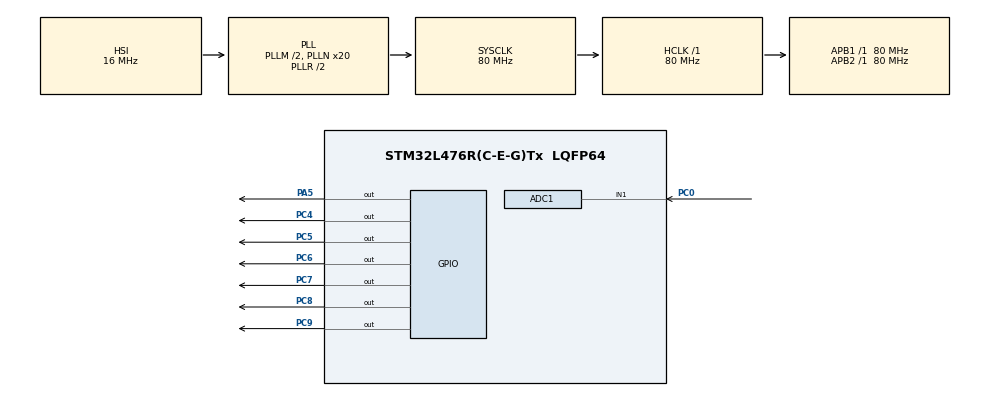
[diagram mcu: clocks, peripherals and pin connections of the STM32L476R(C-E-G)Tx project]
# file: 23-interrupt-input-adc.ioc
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ADC1.Channel-9\#ChannelRegularConversion=ADC_CHANNEL_1
ADC1.NbrOfConversionFlag=1
ADC1.OffsetNumber-9\#ChannelRegularConversion=ADC_OFFSET_NONE
ADC1.Overrun=ADC_OVR_DATA_OVERWRITTEN
ADC1.Rank-9\#ChannelRegularConversion=1
ADC1.SamplingTime-9\#ChannelRegularConversion=ADC_SAMPLETIME_2CYCLES_5
ADC1.master=1
Mcu.Family=STM32L4
Mcu.Name=STM32L476R(C-E-G)Tx
Mcu.Package=LQFP64
NVIC.ADC1_2_IRQn=true\:0\:0\:false\:false\:true\:true\:true\:true
NVIC.PriorityGroup=NVIC_PRIORITYGROUP_4
PA5.Signal=GPIO_Output
PC0.Signal=ADCx_IN1
PC4.Signal=GPIO_Output
PC5.Signal=GPIO_Output
PC6.Signal=GPIO_Output
PC7.Signal=GPIO_Output
PC8.Signal=GPIO_Output
PC9.Signal=GPIO_Output
ProjectManager.HeapSize=0x200
ProjectManager.StackSize=0x400
ProjectManager.TargetToolchain=STM32CubeIDE
RCC.ADCFreq_Value=32000000
RCC.AHBFreq_Value=80000000
RCC.APB1Freq_Value=80000000
RCC.APB1TimFreq_Value=80000000
RCC.APB2Freq_Value=80000000
RCC.APB2TimFreq_Value=80000000
RCC.CortexFreq_Value=80000000
RCC.HCLKFreq_Value=80000000
RCC.HSE_VALUE=8000000
RCC.HSI_VALUE=16000000
RCC.LSE_VALUE=32768
RCC.MSI_VALUE=4000000
RCC.PLLM=2
RCC.PLLN=20
RCC.PLLSourceVirtual=RCC_PLLSOURCE_HSI
RCC.PREFETCH_ENABLE=1
RCC.SYSCLKFreq_VALUE=80000000
RCC.SYSCLKSource=RCC_SYSCLKSOURCE_PLLCLK
RCC.USBFreq_Value=32000000
RCC.VCOOutputFreq_Value=160000000
SH.ADCx_IN1.0=ADC1_IN1,IN1-Single-Ended
board=NUCLEO-L476RG

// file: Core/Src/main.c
/* USER CODE BEGIN Header */
/**
  ******************************************************************************
  * @file           : main.c
  * @brief          : Main program body
  ******************************************************************************
  * @attention
  *
  * Copyright (c) 2025 STMicroelectronics.
  * All rights reserved.
  *
  * This software is licensed under terms that can be found in the LICENSE file
  * in the root directory of this software component.
  * If no LICENSE file comes with this software, it is provided AS-IS.
  *
  ******************************************************************************
  */
/* USER CODE END Header */
#include "main.h"

/* USER CODE BEGIN Includes */
#include "lcd.h"
#include "stdio.h"
/* USER CODE END Includes */

ADC_HandleTypeDef hadc1;

void SystemClock_Config(void);
static void MX_GPIO_Init(void);
static void MX_ADC1_Init(void);

/* USER CODE BEGIN 0 */
uint32_t ADCResult;
char buff[10];
float millivolts;
uint8_t DataFlag = 0;

void HAL_ADC_ConvCpltCallback(ADC_HandleTypeDef* hadc1) {
	ADCResult = HAL_ADC_GetValue(hadc1);    //get value
	millivolts = ((float)ADCResult) * 3300.0 / 4095.0;    //convert 12-bit value
    sprintf(buff, "%7.2f", millivolts);    //convert value format
    DataFlag = 1;    //flag
}
/* USER CODE END 0 */

int main(void)
{

  /* MCU Configuration--------------------------------------------------------*/

  /* Reset of all peripherals, Initializes the Flash interface and the Systick. */
  HAL_Init();

  /* Configure the system clock */
  SystemClock_Config();

  /* Initialize all configured peripherals */
  MX_GPIO_Init();
  MX_ADC1_Init();
  /* USER CODE BEGIN 2 */
  LCD_initial();    //LCD initialize
  LCD_GoTo_Position(0, 0);
  LCD_Puts("Voltmeter:");    //display values on LCD
  HAL_ADC_Start_IT(&hadc1);    //start interrupt
  /* USER CODE END 2 */

  /* Infinite loop */
  /* USER CODE BEGIN WHILE */
  while (1)
  {
    if(DataFlag == 1) {
      DataFlag = 0;    //data flag
      LCD_GoTo_Position(1, 0);    //move to LCD position
      LCD_Puts(buff);    //display values on LCD
      HAL_Delay(500);    //delay
      HAL_ADC_Start_IT(&hadc1);    //restart ADC
    }
    HAL_Delay(1);    //delay
    /* USER CODE END WHILE */

  }
}

void SystemClock_Config(void)
{
  RCC_OscInitTypeDef RCC_OscInitStruct = {0};
  RCC_ClkInitTypeDef RCC_ClkInitStruct = {0};

  /** Configure the main internal regulator output voltage
  */
  if (HAL_PWREx_ControlVoltageScaling(PWR_REGULATOR_VOLTAGE_SCALE1) != HAL_OK)
  {
    Error_Handler();
  }

  /** Initializes the RCC Oscillators according to the specified parameters
  * in the RCC_OscInitTypeDef structure.
  */
  RCC_OscInitStruct.OscillatorType = RCC_OSCILLATORTYPE_HSI;
  RCC_OscInitStruct.HSIState = RCC_HSI_ON;
  RCC_OscInitStruct.HSICalibrationValue = RCC_HSICALIBRATION_DEFAULT;
  RCC_OscInitStruct.PLL.PLLState = RCC_PLL_ON;
  RCC_OscInitStruct.PLL.PLLSource = RCC_PLLSOURCE_HSI;
  RCC_OscInitStruct.PLL.PLLM = 2;
  RCC_OscInitStruct.PLL.PLLN = 20;
  RCC_OscInitStruct.PLL.PLLP = RCC_PLLP_DIV7;
  RCC_OscInitStruct.PLL.PLLQ = RCC_PLLQ_DIV2;
  RCC_OscInitStruct.PLL.PLLR = RCC_PLLR_DIV2;
  if (HAL_RCC_OscConfig(&RCC_OscInitStruct) != HAL_OK)
  {
    Error_Handler();
  }

  /** Initializes the CPU, AHB and APB buses clocks
  */
  RCC_ClkInitStruct.ClockType = RCC_CLOCKTYPE_HCLK|RCC_CLOCKTYPE_SYSCLK
                              |RCC_CLOCKTYPE_PCLK1|RCC_CLOCKTYPE_PCLK2;
  RCC_ClkInitStruct.SYSCLKSource = RCC_SYSCLKSOURCE_PLLCLK;
  RCC_ClkInitStruct.AHBCLKDivider = RCC_SYSCLK_DIV1;
  RCC_ClkInitStruct.APB1CLKDivider = RCC_HCLK_DIV1;
  RCC_ClkInitStruct.APB2CLKDivider = RCC_HCLK_DIV1;

  if (HAL_RCC_ClockConfig(&RCC_ClkInitStruct, FLASH_LATENCY_4) != HAL_OK)
  {
    Error_Handler();
  }
}

static void MX_ADC1_Init(void)
{

  ADC_MultiModeTypeDef multimode = {0};
  ADC_ChannelConfTypeDef sConfig = {0};

  /** Common config
  */
  hadc1.Instance = ADC1;
  hadc1.Init.ClockPrescaler = ADC_CLOCK_ASYNC_DIV1;
  hadc1.Init.Resolution = ADC_RESOLUTION_12B;
  hadc1.Init.DataAlign = ADC_DATAALIGN_RIGHT;
  hadc1.Init.ScanConvMode = ADC_SCAN_DISABLE;
  hadc1.Init.EOCSelection = ADC_EOC_SINGLE_CONV;
  hadc1.Init.LowPowerAutoWait = DISABLE;
  hadc1.Init.ContinuousConvMode = DISABLE;
  hadc1.Init.NbrOfConversion = 1;
  hadc1.Init.DiscontinuousConvMode = DISABLE;
  hadc1.Init.ExternalTrigConv = ADC_SOFTWARE_START;
  hadc1.Init.ExternalTrigConvEdge = ADC_EXTERNALTRIGCONVEDGE_NONE;
  hadc1.Init.DMAContinuousRequests = DISABLE;
  hadc1.Init.Overrun = ADC_OVR_DATA_OVERWRITTEN;
  hadc1.Init.OversamplingMode = DISABLE;
  if (HAL_ADC_Init(&hadc1) != HAL_OK)
  {
    Error_Handler();
  }

  /** Configure the ADC multi-mode
  */
  multimode.Mode = ADC_MODE_INDEPENDENT;
  if (HAL_ADCEx_MultiModeConfigChannel(&hadc1, &multimode) != HAL_OK)
  {
    Error_Handler();
  }

  /** Configure Regular Channel
  */
  sConfig.Channel = ADC_CHANNEL_1;
  sConfig.Rank = ADC_REGULAR_RANK_1;
  sConfig.SamplingTime = ADC_SAMPLETIME_2CYCLES_5;
  sConfig.SingleDiff = ADC_SINGLE_ENDED;
  sConfig.OffsetNumber = ADC_OFFSET_NONE;
  sConfig.Offset = 0;
  if (HAL_ADC_ConfigChannel(&hadc1, &sConfig) != HAL_OK)
  {
    Error_Handler();
  }

}

static void MX_GPIO_Init(void)
{
  GPIO_InitTypeDef GPIO_InitStruct = {0};

  /* GPIO Ports Clock Enable */
  __HAL_RCC_GPIOC_CLK_ENABLE();
  __HAL_RCC_GPIOA_CLK_ENABLE();

  /*Configure GPIO pin Output Level */
  HAL_GPIO_WritePin(GPIOA, GPIO_PIN_5, GPIO_PIN_RESET);

  /*Configure GPIO pin Output Level */
  HAL_GPIO_WritePin(GPIOC, GPIO_PIN_4|GPIO_PIN_5|GPIO_PIN_6|GPIO_PIN_7
                          |GPIO_PIN_8|GPIO_PIN_9, GPIO_PIN_RESET);

  /*Configure GPIO pin : PA5 */
  GPIO_InitStruct.Pin = GPIO_PIN_5;
  GPIO_InitStruct.Mode = GPIO_MODE_OUTPUT_PP;
  GPIO_InitStruct.Pull = GPIO_NOPULL;
  GPIO_InitStruct.Speed = GPIO_SPEED_FREQ_LOW;
  HAL_GPIO_Init(GPIOA, &GPIO_InitStruct);

  /*Configure GPIO pins : PC4 PC5 PC6 PC7
                           PC8 PC9 */
  GPIO_InitStruct.Pin = GPIO_PIN_4|GPIO_PIN_5|GPIO_PIN_6|GPIO_PIN_7
                          |GPIO_PIN_8|GPIO_PIN_9;
  GPIO_InitStruct.Mode = GPIO_MODE_OUTPUT_PP;
  GPIO_InitStruct.Pull = GPIO_NOPULL;
  GPIO_InitStruct.Speed = GPIO_SPEED_FREQ_LOW;
  HAL_GPIO_Init(GPIOC, &GPIO_InitStruct);

}

void Error_Handler(void)
{
  __disable_irq();
  while (1)
  {
  }
}
